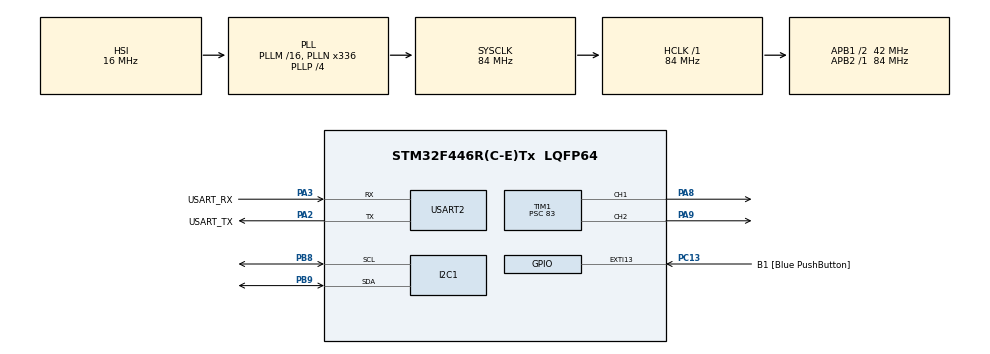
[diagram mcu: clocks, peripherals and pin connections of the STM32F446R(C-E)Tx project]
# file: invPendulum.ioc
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Mcu.Family=STM32F4
Mcu.Name=STM32F446R(C-E)Tx
Mcu.Package=LQFP64
NVIC.PriorityGroup=NVIC_PRIORITYGROUP_0
PA13.GPIO_Label=TMS
PA13.Mode=Serial_Wire
PA13.Signal=SYS_JTMS-SWDIO
PA14.GPIO_Label=TCK
PA14.Mode=Serial_Wire
PA14.Signal=SYS_JTCK-SWCLK
PA2.GPIO_Label=USART_TX
PA2.Mode=Asynchronous
PA2.Signal=USART2_TX
PA3.GPIO_Label=USART_RX
PA3.Mode=Asynchronous
PA3.Signal=USART2_RX
PA8.Signal=S_TIM1_CH1
PA9.Signal=S_TIM1_CH2
PB3.GPIO_Label=SWO
PB3.Signal=SYS_JTDO-SWO
PB8.Mode=I2C
PB8.Signal=I2C1_SCL
PB9.Mode=I2C
PB9.Signal=I2C1_SDA
PC13.GPIO_Label=B1 [Blue PushButton]
PC13.GPIO_ModeDefaultEXTI=GPIO_MODE_IT_FALLING
PC13.Signal=GPXTI13
PC14-OSC32_IN.Mode=LSE-External-Oscillator
PC14-OSC32_IN.Signal=RCC_OSC32_IN
PC15-OSC32_OUT.Mode=LSE-External-Oscillator
PC15-OSC32_OUT.Signal=RCC_OSC32_OUT
PH0-OSC_IN.Mode=HSE-External-Oscillator
PH0-OSC_IN.Signal=RCC_OSC_IN
PH1-OSC_OUT.Mode=HSE-External-Oscillator
PH1-OSC_OUT.Signal=RCC_OSC_OUT
ProjectManager.HeapSize=0x200
ProjectManager.StackSize=0x400
ProjectManager.TargetToolchain=CMake
RCC.48MHZClocksFreq_Value=84000000
RCC.AHBFreq_Value=84000000
RCC.APB1CLKDivider=RCC_HCLK_DIV2
RCC.APB1Freq_Value=42000000
RCC.APB1TimFreq_Value=84000000
RCC.APB2Freq_Value=84000000
RCC.APB2TimFreq_Value=84000000
RCC.CortexFreq_Value=84000000
RCC.FLatency-AdvancedSettings=FLASH_LATENCY_2
RCC.HCLKFreq_Value=84000000
RCC.HSE_VALUE=8000000
RCC.HSI_VALUE=16000000
RCC.PLLN=336
RCC.PLLP=RCC_PLLP_DIV4
RCC.SYSCLKFreq_VALUE=84000000
RCC.SYSCLKSource=RCC_SYSCLKSOURCE_PLLCLK
RCC.USBFreq_Value=168000000
RCC.VCOOutputFreq_Value=336000000
SH.S_TIM1_CH1.0=TIM1_CH1,PWM Generation1 CH1
SH.S_TIM1_CH2.0=TIM1_CH2,PWM Generation2 CH2
TIM1.Channel-PWM\ Generation1\ CH1=TIM_CHANNEL_1
TIM1.Channel-PWM\ Generation2\ CH2=TIM_CHANNEL_2
TIM1.Period=499
TIM1.Prescaler=83
TIM2.Period=499
TIM2.Prescaler=83
USART2.VirtualMode=VM_ASYNC
VP_TIM1_VS_ClockSourceINT.Mode=Internal
VP_TIM2_VS_ClockSourceINT.Mode=Internal
board=NUCLEO-F446RE

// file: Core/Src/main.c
/* USER CODE BEGIN Header */
/**
  ******************************************************************************
  * @file           : main.c
  * @brief          : Main program body
  ******************************************************************************
  */
/* USER CODE END Header */
#include "main.h"

/* USER CODE BEGIN Includes */
#include <stdio.h>
#include <math.h>
/* USER CODE END Includes */

I2C_HandleTypeDef hi2c1;

TIM_HandleTypeDef htim1;
TIM_HandleTypeDef htim2;

UART_HandleTypeDef huart2;

/* USER CODE BEGIN PV */
uint8_t rec_data[14];

int16_t Accel_X, Accel_Z, Gyro_Y;

float Ax, Az;
float gyro_rate;
float acc_angle;
float angle = 0;
float theta_dot;

float theta_rad;
float theta_dot_rad;
float u;

uint32_t prev_time;

float gyro_bias = 0;
/* USER CODE END PV */

void SystemClock_Config(void);
static void MX_GPIO_Init(void);
static void MX_I2C1_Init(void);
static void MX_USART2_UART_Init(void);
static void MX_TIM2_Init(void);
static void MX_TIM1_Init(void);

/* USER CODE BEGIN 0 */

float clamp(float val, float max)
{
    if (val > max) return max;
    if (val < -max) return -max;
    return val;
}

int __io_putchar(int ch)
{
    HAL_UART_Transmit(&huart2, (uint8_t *)&ch, 1, HAL_MAX_DELAY);
    return ch;
}

/* USER CODE END 0 */

int main(void)
{

  /* MCU Configuration--------------------------------------------------------*/

  /* Reset of all peripherals, Initializes the Flash interface and the Systick. */
  HAL_Init();

  /* Configure the system clock */
  SystemClock_Config();

  /* Initialize all configured peripherals */
  MX_GPIO_Init();
  MX_I2C1_Init();
  MX_USART2_UART_Init();
  MX_TIM2_Init();
  MX_TIM1_Init();
  /* USER CODE BEGIN 2 */

  HAL_TIM_PWM_Start(&htim1, TIM_CHANNEL_1);  // D7 (PA8) — Forward
  HAL_TIM_PWM_Start(&htim1, TIM_CHANNEL_2);  // D8 (PA9) — Reverse
  TIM1->BDTR |= TIM_BDTR_MOE;

  // Wake MPU6050
  uint8_t data = 0;
HAL_I2C_Mem_Write(&hi2c1, 0x68<<1, 0x6B, I2C_MEMADD_SIZE_8BIT, &data, 1, 100);

// Gyro ±250 dps
data = 0x00;
HAL_I2C_Mem_Write(&hi2c1, 0x68<<1, 0x1B, 1, &data, 1, 100);

// Acc ±2g
data = 0x00;
HAL_I2C_Mem_Write(&hi2c1, 0x68<<1, 0x1C, 1, &data, 1, 100);

HAL_Delay(100);

// ===== GYRO CALIBRATION =====
for (int i = 0; i < 200; i++)
{
    HAL_I2C_Mem_Read(&hi2c1, 0x68<<1, 0x43, 1, rec_data, 6, 100);
    Gyro_Y = (int16_t)(rec_data[2] << 8 | rec_data[3]);
    gyro_bias += Gyro_Y;
    HAL_Delay(5);
}
gyro_bias /= 200.0;

prev_time = HAL_GetTick();

  /* USER CODE END 2 */

  /* Infinite loop */
  while (1)
  {

    /* USER CODE BEGIN 3 */
    // ===== TIME (non-blocking loop control) =====
    static uint32_t last_loop = 0;
    uint32_t now = HAL_GetTick();

    if (now - last_loop < 2)   // ~500 Hz loop target
        continue;

    float dt = (now - prev_time) / 1000.0f;
    prev_time = now;
    last_loop = now;

    if (dt <= 0.0f) dt = 0.001f;

    // ===== MPU READ =====
    if (HAL_I2C_Mem_Read(&hi2c1, 0x68 << 1, 0x3B,
                         I2C_MEMADD_SIZE_8BIT,
                         rec_data, 14, 50) != HAL_OK)
    {
        HAL_I2C_DeInit(&hi2c1);
        HAL_I2C_Init(&hi2c1);
        continue;
    }

    Accel_X = (int16_t)(rec_data[0] << 8 | rec_data[1]);
    Accel_Z = (int16_t)(rec_data[4] << 8 | rec_data[5]);
    Gyro_Y  = (int16_t)(rec_data[10] << 8 | rec_data[11]);

    Ax = Accel_X / 16384.0f;
    Az = Accel_Z / 16384.0f;

    gyro_rate = (Gyro_Y - gyro_bias) / 131.0f;

    acc_angle = atan2(Ax, Az) * 180.0f / M_PI;

    // ===== COMPLEMENTARY FILTER =====
    angle = 0.98f * (angle + gyro_rate * dt) + 0.02f * acc_angle;

    // ===== SAFETY SHUTOFF =====
    if (fabsf(angle) > 50.0f)
    {
        __HAL_TIM_SET_COMPARE(&htim1, TIM_CHANNEL_1, 0);
        __HAL_TIM_SET_COMPARE(&htim1, TIM_CHANNEL_2, 0);

        printf("FALL\r\n");

        continue;
    }

    // smooth derivative (IMPORTANT for sign flip stability)
    theta_dot = 0.9f * theta_dot + 0.1f * gyro_rate;

    // ===== CONVERT =====
    theta_rad = angle * (M_PI / 180.0f);
    theta_dot_rad = theta_dot * (M_PI / 180.0f);

    // ===== PD CONTROL =====
    u = 350.0f * theta_rad + 35.0f * theta_dot_rad;

    // clamp control
    if (u > 100.0f) u = 100.0f;
    if (u < -100.0f) u = -100.0f;

    int pwm = (int)(fabsf(u) * 20.0f);

    if (pwm > 500) pwm = 500;

    // ===== SOFT DEADZONE (FIXES "PAUSE") =====
    if (fabsf(u) < 0.3f)
        pwm = 0;
    else if (pwm < 50)
        pwm = 50;

    if (fabsf(u) > 150.0f)
      {
          __HAL_TIM_SET_COMPARE(&htim1, TIM_CHANNEL_1, 0);
          __HAL_TIM_SET_COMPARE(&htim1, TIM_CHANNEL_2, 0);

          printf("FALL\r\n");

          continue;
      }

    // ===== DIRECTION MEMORY (FIXS FLIP PAUSE) =====
    static int last_dir = 1;
    int dir = (u >= 0) ? 1 : -1;

    if (dir != last_dir && pwm < 200)
    {
        pwm = 0; // prevent jerk at zero crossing
    }
    else
    {
        last_dir = dir;
    }

    // ===== MOTOR CONTROL =====
    if (dir > 0)
    {
        __HAL_TIM_SET_COMPARE(&htim1, TIM_CHANNEL_1, pwm);
        __HAL_TIM_SET_COMPARE(&htim1, TIM_CHANNEL_2, 0);
    }
    else
    {
        __HAL_TIM_SET_COMPARE(&htim1, TIM_CHANNEL_1, 0);
        __HAL_TIM_SET_COMPARE(&htim1, TIM_CHANNEL_2, pwm);
    }

    // ===== DEBUG (SLOWED DOWN) =====
    static int dbg = 0;
    dbg++;
    if (dbg % 20 == 0)
    {
        printf("A: %.2f | U: %.2f | P: %d\r\n", angle, u, pwm);
    }
  }
  /* USER CODE END 3 */
}

void SystemClock_Config(void)
{
  RCC_OscInitTypeDef RCC_OscInitStruct = {0};
  RCC_ClkInitTypeDef RCC_ClkInitStruct = {0};

  /** Configure the main internal regulator output voltage
  */
  __HAL_RCC_PWR_CLK_ENABLE();
  __HAL_PWR_VOLTAGESCALING_CONFIG(PWR_REGULATOR_VOLTAGE_SCALE3);

  /** Initializes the RCC Oscillators according to the specified parameters
  * in the RCC_OscInitTypeDef structure.
  */
  RCC_OscInitStruct.OscillatorType = RCC_OSCILLATORTYPE_HSI;
  RCC_OscInitStruct.HSIState = RCC_HSI_ON;
  RCC_OscInitStruct.HSICalibrationValue = RCC_HSICALIBRATION_DEFAULT;
  RCC_OscInitStruct.PLL.PLLState = RCC_PLL_ON;
  RCC_OscInitStruct.PLL.PLLSource = RCC_PLLSOURCE_HSI;
  RCC_OscInitStruct.PLL.PLLM = 16;
  RCC_OscInitStruct.PLL.PLLN = 336;
  RCC_OscInitStruct.PLL.PLLP = RCC_PLLP_DIV4;
  RCC_OscInitStruct.PLL.PLLQ = 2;
  RCC_OscInitStruct.PLL.PLLR = 2;
  if (HAL_RCC_OscConfig(&RCC_OscInitStruct) != HAL_OK)
  {
    Error_Handler();
  }

  /** Initializes the CPU, AHB and APB buses clocks
  */
  RCC_ClkInitStruct.ClockType = RCC_CLOCKTYPE_HCLK|RCC_CLOCKTYPE_SYSCLK
                              |RCC_CLOCKTYPE_PCLK1|RCC_CLOCKTYPE_PCLK2;
  RCC_ClkInitStruct.SYSCLKSource = RCC_SYSCLKSOURCE_PLLCLK;
  RCC_ClkInitStruct.AHBCLKDivider = RCC_SYSCLK_DIV1;
  RCC_ClkInitStruct.APB1CLKDivider = RCC_HCLK_DIV2;
  RCC_ClkInitStruct.APB2CLKDivider = RCC_HCLK_DIV1;

  if (HAL_RCC_ClockConfig(&RCC_ClkInitStruct, FLASH_LATENCY_2) != HAL_OK)
  {
    Error_Handler();
  }
}

static void MX_I2C1_Init(void)
{

  hi2c1.Instance = I2C1;
  hi2c1.Init.ClockSpeed = 100000;
  hi2c1.Init.DutyCycle = I2C_DUTYCYCLE_2;
  hi2c1.Init.OwnAddress1 = 0;
  hi2c1.Init.AddressingMode = I2C_ADDRESSINGMODE_7BIT;
  hi2c1.Init.DualAddressMode = I2C_DUALADDRESS_DISABLE;
  hi2c1.Init.OwnAddress2 = 0;
  hi2c1.Init.GeneralCallMode = I2C_GENERALCALL_DISABLE;
  hi2c1.Init.NoStretchMode = I2C_NOSTRETCH_DISABLE;
  if (HAL_I2C_Init(&hi2c1) != HAL_OK)
  {
    Error_Handler();
  }

}

static void MX_TIM1_Init(void)
{

  TIM_ClockConfigTypeDef sClockSourceConfig = {0};
  TIM_MasterConfigTypeDef sMasterConfig = {0};
  TIM_OC_InitTypeDef sConfigOC = {0};
  TIM_BreakDeadTimeConfigTypeDef sBreakDeadTimeConfig = {0};

  htim1.Instance = TIM1;
  htim1.Init.Prescaler = 83;
  htim1.Init.CounterMode = TIM_COUNTERMODE_UP;
  htim1.Init.Period = 499;
  htim1.Init.ClockDivision = TIM_CLOCKDIVISION_DIV1;
  htim1.Init.RepetitionCounter = 0;
  htim1.Init.AutoReloadPreload = TIM_AUTORELOAD_PRELOAD_DISABLE;
  if (HAL_TIM_Base_Init(&htim1) != HAL_OK)
  {
    Error_Handler();
  }
  sClockSourceConfig.ClockSource = TIM_CLOCKSOURCE_INTERNAL;
  if (HAL_TIM_ConfigClockSource(&htim1, &sClockSourceConfig) != HAL_OK)
  {
    Error_Handler();
  }
  if (HAL_TIM_PWM_Init(&htim1) != HAL_OK)
  {
    Error_Handler();
  }
  sMasterConfig.MasterOutputTrigger = TIM_TRGO_RESET;
  sMasterConfig.MasterSlaveMode = TIM_MASTERSLAVEMODE_DISABLE;
  if (HAL_TIMEx_MasterConfigSynchronization(&htim1, &sMasterConfig) != HAL_OK)
  {
    Error_Handler();
  }
  sConfigOC.OCMode = TIM_OCMODE_PWM1;
  sConfigOC.Pulse = 0;
  sConfigOC.OCPolarity = TIM_OCPOLARITY_HIGH;
  sConfigOC.OCNPolarity = TIM_OCNPOLARITY_HIGH;
  sConfigOC.OCFastMode = TIM_OCFAST_DISABLE;
  sConfigOC.OCIdleState = TIM_OCIDLESTATE_RESET;
  sConfigOC.OCNIdleState = TIM_OCNIDLESTATE_RESET;
  if (HAL_TIM_PWM_ConfigChannel(&htim1, &sConfigOC, TIM_CHANNEL_1) != HAL_OK)
  {
    Error_Handler();
  }
  if (HAL_TIM_PWM_ConfigChannel(&htim1, &sConfigOC, TIM_CHANNEL_2) != HAL_OK)
  {
    Error_Handler();
  }
  sBreakDeadTimeConfig.OffStateRunMode = TIM_OSSR_DISABLE;
  sBreakDeadTimeConfig.OffStateIDLEMode = TIM_OSSI_DISABLE;
  sBreakDeadTimeConfig.LockLevel = TIM_LOCKLEVEL_OFF;
  sBreakDeadTimeConfig.DeadTime = 0;
  sBreakDeadTimeConfig.BreakState = TIM_BREAK_DISABLE;
  sBreakDeadTimeConfig.BreakPolarity = TIM_BREAKPOLARITY_HIGH;
  sBreakDeadTimeConfig.AutomaticOutput = TIM_AUTOMATICOUTPUT_DISABLE;
  if (HAL_TIMEx_ConfigBreakDeadTime(&htim1, &sBreakDeadTimeConfig) != HAL_OK)
  {
    Error_Handler();
  }
  HAL_TIM_MspPostInit(&htim1);

}

static void MX_TIM2_Init(void)
{

  TIM_ClockConfigTypeDef sClockSourceConfig = {0};
  TIM_MasterConfigTypeDef sMasterConfig = {0};

  htim2.Instance = TIM2;
  htim2.Init.Prescaler = 83;
  htim2.Init.CounterMode = TIM_COUNTERMODE_UP;
  htim2.Init.Period = 499;
  htim2.Init.ClockDivision = TIM_CLOCKDIVISION_DIV1;
  htim2.Init.AutoReloadPreload = TIM_AUTORELOAD_PRELOAD_DISABLE;
  if (HAL_TIM_Base_Init(&htim2) != HAL_OK)
  {
    Error_Handler();
  }
  sClockSourceConfig.ClockSource = TIM_CLOCKSOURCE_INTERNAL;
  if (HAL_TIM_ConfigClockSource(&htim2, &sClockSourceConfig) != HAL_OK)
  {
    Error_Handler();
  }
  sMasterConfig.MasterOutputTrigger = TIM_TRGO_RESET;
  sMasterConfig.MasterSlaveMode = TIM_MASTERSLAVEMODE_DISABLE;
  if (HAL_TIMEx_MasterConfigSynchronization(&htim2, &sMasterConfig) != HAL_OK)
  {
    Error_Handler();
  }

}

static void MX_USART2_UART_Init(void)
{

  huart2.Instance = USART2;
  huart2.Init.BaudRate = 115200;
  huart2.Init.WordLength = UART_WORDLENGTH_8B;
  huart2.Init.StopBits = UART_STOPBITS_1;
  huart2.Init.Parity = UART_PARITY_NONE;
  huart2.Init.Mode = UART_MODE_TX_RX;
  huart2.Init.HwFlowCtl = UART_HWCONTROL_NONE;
  huart2.Init.OverSampling = UART_OVERSAMPLING_16;
  if (HAL_UART_Init(&huart2) != HAL_OK)
  {
    Error_Handler();
  }

}

static void MX_GPIO_Init(void)
{
  GPIO_InitTypeDef GPIO_InitStruct = {0};

  /* GPIO Ports Clock Enable */
  __HAL_RCC_GPIOC_CLK_ENABLE();
  __HAL_RCC_GPIOH_CLK_ENABLE();
  __HAL_RCC_GPIOA_CLK_ENABLE();
  __HAL_RCC_GPIOB_CLK_ENABLE();

  /*Configure GPIO pin : B1_Pin */
  GPIO_InitStruct.Pin = B1_Pin;
  GPIO_InitStruct.Mode = GPIO_MODE_IT_FALLING;
  GPIO_InitStruct.Pull = GPIO_NOPULL;
  HAL_GPIO_Init(B1_GPIO_Port, &GPIO_InitStruct);

  /* USER CODE BEGIN MX_GPIO_Init_2 */
  GPIO_InitStruct.Pin = GPIO_PIN_1 | GPIO_PIN_4;
GPIO_InitStruct.Mode = GPIO_MODE_OUTPUT_PP;
GPIO_InitStruct.Pull = GPIO_NOPULL;
GPIO_InitStruct.Speed = GPIO_SPEED_FREQ_LOW;
HAL_GPIO_Init(GPIOA, &GPIO_InitStruct);
  /* USER CODE END MX_GPIO_Init_2 */
}

void Error_Handler(void)
{
  __disable_irq();
  while (1)
  {
  }
}
